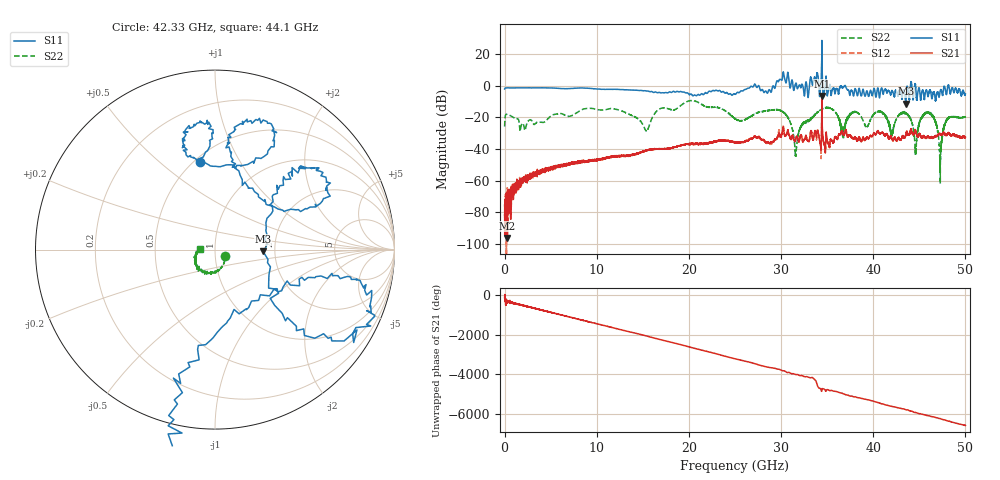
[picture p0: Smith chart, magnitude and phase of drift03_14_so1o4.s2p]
!Created with skrf (http://scikit-rf.org).
# Hz S RI R 50.0
!freq ReS11 ImS11 ReS21 ImS21 ReS12 ImS12 ReS22 ImS22
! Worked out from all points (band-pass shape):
!   10000 points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, 5.3 MHz to 50 GHz, reference 50 ohm
!   highest |S21| = -6.54 dB at 34.43 GHz (marker M1); lowest = -96.3 dB at 310.3 MHz (marker M2)
!   |S21| within 3 dB of the highest: 34.42754 GHz to 34.43554 GHz (8.005 MHz wide, 0.0232 % of centre)
!   lowest |S11| = -11.4 dB at 43.53 GHz (marker M3), VSWR 1.73, Z = 86.6 - j1.83 ohm
!   |S11| at or under -10 dB: 43.49711 GHz to 43.54342 GHz (46.31 MHz wide, 0.106 % of centre)
!   |S22| runs from -61.9 to -9.4 dB; largest |S21 - S12| = 0.14
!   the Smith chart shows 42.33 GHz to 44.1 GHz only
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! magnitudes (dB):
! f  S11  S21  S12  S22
! 5.3 MHz  -2.1  -75.6  -82.3  -25.8
! 310.3 MHz  -1.4  -96.3  -77.2  -18.1
! 2.31 GHz  -1.3  -60.8  -58.4  -26.2
! 8.34 GHz  -1.5  -47.8  -47.9  -15.3
! 15.39 GHz  -3.4  -40.9  -40.8  -28.7
! 16.67 GHz  -4.4  -40.0  -39.9  -15.3
! 20.45 GHz  -6.5  -36.9  -37.2  -9.5
! 25.01 GHz  -5.5  -35.7  -35.9  -21.1
! 29.97 GHz  3.9  -32.5  -32.5  -15.8
! 31.6 GHz  1.5  -33.5  -34.0  -44.1
! 33.34 GHz  2.6  -30.1  -30.4  -20.7
! 34.43 GHz  28.6  -6.5  -8.5  -14.7
! 36.7 GHz  -1.2  -30.0  -29.8  -28.3
! 37.95 GHz  -3.9  -32.9  -32.9  -16.5
! 41.67 GHz  -3.2  -33.4  -33.5  -23.4
! 43.53 GHz  -11.4  -31.3  -31.3  -17.2
! 44.61 GHz  -1.0  -28.8  -28.9  -42.7
! 45.32 GHz  -3.1  -32.9  -33.1  -20.0
! 46.3 GHz  -6.0  -32.7  -32.7  -18.0
! 47.29 GHz  -3.0  -30.8  -30.6  -48.2
! 48.1 GHz  -0.2  -30.1  -30.3  -20.2
! 50 GHz  -5.3  -32.6  -32.8  -19.7
